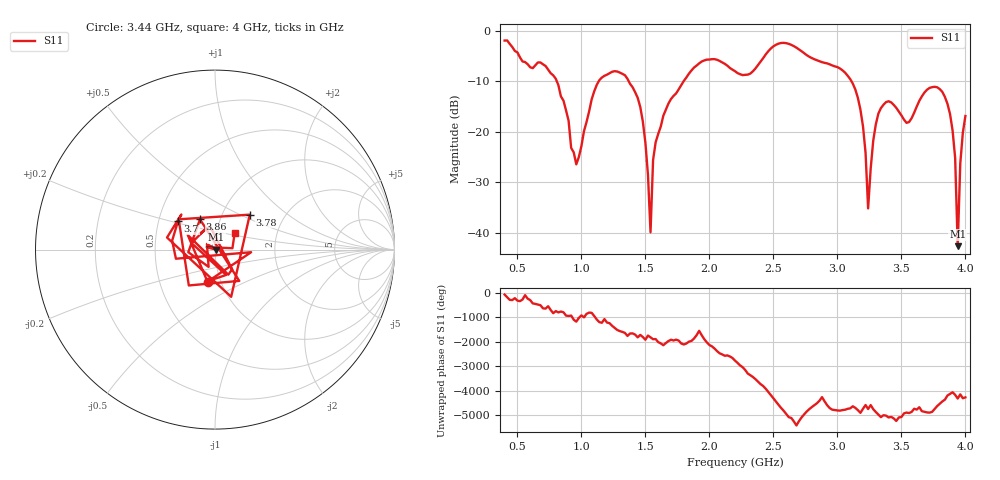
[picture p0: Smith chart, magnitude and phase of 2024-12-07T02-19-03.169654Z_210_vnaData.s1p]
!Created with skrf (http://scikit-rf.org).
# Hz S RI R 50.0
!freq ReS11 ImS11
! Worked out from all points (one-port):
!   181 points, 400 MHz to 4 GHz, reference 50 ohm
!   lowest |S11| = -42.6 dB at 3.94 GHz (marker M1), VSWR 1.01, Z = 50.7 - j0.0948 ohm
!   |S11| at or under -10 dB: 807.4 MHz to 1.136 GHz (328.6 MHz wide, 33.8 % of centre); 1.369 GHz to 1.799 GHz (430.1 MHz wide, 27.1 % of centre); 3.109 GHz to end of sweep
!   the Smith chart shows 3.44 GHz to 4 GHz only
!   S11 on the Smith chart (normalised r, x): 3.44 GHz: 0.86, -0.32; 3.7 GHz: 0.63, +0.21; 3.78 GHz: 1.34, +0.57; 3.86 GHz: 0.80, +0.28; 4 GHz: 1.22, +0.23
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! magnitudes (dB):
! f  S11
! 400 MHz  -2.0
! 860 MHz  -13.9
! 960 MHz  -26.5
! 1.12 GHz  -10.7
! 1.3 GHz  -8.3
! 1.46 GHz  -15.1
! 1.5 GHz  -22.2
! 1.54 GHz  -39.9
! 1.56 GHz  -25.6
! 1.58 GHz  -22.1
! 1.76 GHz  -11.6
! 1.98 GHz  -5.7
! 2.2 GHz  -8.0
! 2.66 GHz  -3.1
! 3.1 GHz  -9.6
! 3.2 GHz  -19.0
! 3.24 GHz  -35.2
! 3.28 GHz  -21.8
! 3.32 GHz  -16.4
! 3.44 GHz  -14.7
! 3.56 GHz  -18.1
! 3.7 GHz  -11.7
! 3.78 GHz  -11.2
! 3.86 GHz  -14.5
! 3.92 GHz  -25.2
! 3.94 GHz  -42.6
! 3.96 GHz  -26.3
! 4 GHz  -16.9
